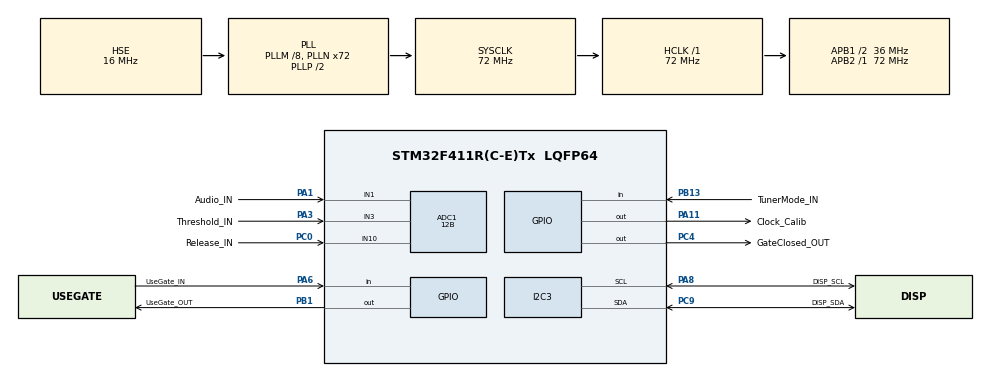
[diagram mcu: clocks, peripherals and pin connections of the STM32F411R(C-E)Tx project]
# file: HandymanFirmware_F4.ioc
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ADC1.Channel-0\#ChannelRegularConversion=ADC_CHANNEL_1
ADC1.Channel-1\#ChannelInjectedConversion=ADC_CHANNEL_10
ADC1.Channel-2\#ChannelInjectedConversion=ADC_CHANNEL_3
ADC1.ContinuousConvMode=DISABLE
ADC1.ExternalTrigConv=ADC_EXTERNALTRIGCONV_T2_TRGO
ADC1.ExternalTrigConvEdge=ADC_EXTERNALTRIGCONVEDGE_RISING
ADC1.InjNumberOfConversion=2
ADC1.InjectedOffset-1\#ChannelInjectedConversion=0
ADC1.InjectedOffset-2\#ChannelInjectedConversion=0
ADC1.InjectedRank-1\#ChannelInjectedConversion=1
ADC1.InjectedRank-2\#ChannelInjectedConversion=2
ADC1.NbrOfConversion=1
ADC1.NbrOfConversionFlag=1
ADC1.Rank-0\#ChannelRegularConversion=1
ADC1.Resolution=ADC_RESOLUTION_12B
ADC1.SamplingTime-0\#ChannelRegularConversion=ADC_SAMPLETIME_28CYCLES
ADC1.SamplingTime-1\#ChannelInjectedConversion=ADC_SAMPLETIME_3CYCLES
ADC1.SamplingTime-2\#ChannelInjectedConversion=ADC_SAMPLETIME_3CYCLES
ADC1.master=1
Dma.ADC1.0.Direction=DMA_PERIPH_TO_MEMORY
Dma.ADC1.0.FIFOMode=DMA_FIFOMODE_DISABLE
Dma.ADC1.0.Instance=DMA2_Stream0
Dma.ADC1.0.MemDataAlignment=DMA_MDATAALIGN_HALFWORD
Dma.ADC1.0.MemInc=DMA_MINC_ENABLE
Dma.ADC1.0.Mode=DMA_NORMAL
Dma.ADC1.0.PeriphDataAlignment=DMA_PDATAALIGN_HALFWORD
Dma.ADC1.0.PeriphInc=DMA_PINC_DISABLE
Dma.ADC1.0.Priority=DMA_PRIORITY_HIGH
Dma.Request0=ADC1
I2C3.I2C_Mode=I2C_Fast
Mcu.Family=STM32F4
Mcu.Name=STM32F411R(C-E)Tx
Mcu.Package=LQFP64
NVIC.ADC_IRQn=true\:0\:0\:false\:false\:true\:true\:true\:true
NVIC.DMA2_Stream0_IRQn=true\:0\:0\:false\:false\:true\:false\:true\:true
NVIC.PriorityGroup=NVIC_PRIORITYGROUP_4
NVIC.TIM3_IRQn=true\:0\:0\:false\:false\:true\:true\:true\:true
NVIC.TIM5_IRQn=true\:0\:0\:false\:false\:true\:true\:true\:true
PA1.GPIO_Label=Audio_IN
PA1.Signal=ADCx_IN1
PA11.GPIO_Label=Clock_Calib
PA11.Signal=GPIO_Output
PA13.Mode=Serial_Wire
PA13.Signal=SYS_JTMS-SWDIO
PA14.Mode=Serial_Wire
PA14.Signal=SYS_JTCK-SWCLK
PA3.GPIO_Label=Threshold_IN
PA3.Signal=ADCx_IN3
PA6.GPIO_Label=UseGate_IN
PA6.Signal=GPIO_Input
PA8.GPIO_Label=DISP_SCL
PA8.Mode=I2C
PA8.Signal=I2C3_SCL
PB1.GPIO_Label=UseGate_OUT
PB1.Signal=GPIO_Output
PB13.GPIO_Label=TunerMode_IN
PB13.Signal=GPIO_Input
PC0.GPIO_Label=Release_IN
PC0.Signal=ADCx_IN10
PC4.GPIO_Label=GateClosed_OUT
PC4.Signal=GPIO_Output
PC9.GPIO_Label=DISP_SDA
PC9.Mode=I2C
PC9.Signal=I2C3_SDA
PH0\ -\ OSC_IN.Mode=HSE-External-Oscillator
PH0\ -\ OSC_IN.Signal=RCC_OSC_IN
PH1\ -\ OSC_OUT.Mode=HSE-External-Oscillator
PH1\ -\ OSC_OUT.Signal=RCC_OSC_OUT
ProjectManager.HeapSize=0x200
ProjectManager.StackSize=0x400
ProjectManager.TargetToolchain=CMake
RCC.48MHZClocksFreq_Value=36000000
RCC.AHBFreq_Value=72000000
RCC.APB1CLKDivider=RCC_HCLK_DIV2
RCC.APB1Freq_Value=36000000
RCC.APB1TimFreq_Value=72000000
RCC.APB2Freq_Value=72000000
RCC.APB2TimFreq_Value=72000000
RCC.CortexFreq_Value=72000000
RCC.HCLKFreq_Value=72000000
RCC.HSE_VALUE=16000000
RCC.HSI_VALUE=16000000
RCC.LSE_VALUE=32768
RCC.PLLM=8
RCC.PLLN=72
RCC.PLLSourceVirtual=RCC_PLLSOURCE_HSE
RCC.SYSCLKFreq_VALUE=72000000
RCC.SYSCLKSource=RCC_SYSCLKSOURCE_PLLCLK
RCC.VCOOutputFreq_Value=144000000
SH.ADCx_IN1.0=ADC1_IN1,IN1
SH.ADCx_IN10.0=ADC1_IN10,IN10
SH.ADCx_IN3.0=ADC1_IN3,IN3
TIM2.AutoReloadPreload=TIM_AUTORELOAD_PRELOAD_DISABLE
TIM2.Period=1499
TIM2.TIM_MasterOutputTrigger=TIM_TRGO_UPDATE
TIM3.AutoReloadPreload=TIM_AUTORELOAD_PRELOAD_ENABLE
TIM3.Period=49999
TIM3.Prescaler=143
TIM3.TIM_MasterOutputTrigger=TIM_TRGO_UPDATE
TIM5.Period=63999
TIM5.Prescaler=8
VP_TIM2_VS_ClockSourceINT.Mode=Internal
VP_TIM3_VS_ClockSourceINT.Mode=Internal
VP_TIM5_VS_ClockSourceINT.Mode=Internal
board=custom

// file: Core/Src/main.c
/* USER CODE BEGIN Header */
/**
 ******************************************************************************
 * @file           : main.c
 * @brief          : Main program body
 ******************************************************************************
 * @attention
 *
 * Copyright (c) 2026 STMicroelectronics.
 * All rights reserved.
 *
 * This software is licensed under terms that can be found in the LICENSE file
 * in the root directory of this software component.
 * If no LICENSE file comes with this software, it is provided AS-IS.
 *
 ******************************************************************************
 */
/* USER CODE END Header */
#include "main.h"

/* USER CODE BEGIN Includes */
#include "BitstreamACF.h"
#include "Tuning.h"
#include "sh1106.h"
#include "DisplayChars.h"
//#include "ssd1306_fonts.h"
#include "NoiseGate.h"
#include "stm32f4xx_hal.h"
#include "stm32f4xx_hal_adc_ex.h"
#include "stm32f4xx_hal_def.h"
#include "stm32f4xx_hal_gpio.h"
#include "stm32f4xx_hal_tim.h"
#include "stm32f4xx_it.h"
#include <string.h>
#include <stdlib.h>

/* USER CODE END Includes */

/* USER CODE BEGIN PD */
#define IN_TUNE_THRESH 4

//#define DISPLAY_VERTICAL
/* USER CODE END PD */

ADC_HandleTypeDef hadc1;
DMA_HandleTypeDef hdma_adc1;

I2C_HandleTypeDef hi2c3;

TIM_HandleTypeDef htim2;
TIM_HandleTypeDef htim3;
TIM_HandleTypeDef htim5;

/* USER CODE BEGIN PV */
// DMA fills this buffer with the ADC values
uint16_t tuningBuffer[TUNING_WINDOW_SIZE * 2];
uint16_t noiseGateBuffer[GATE_WINDOW_SIZE * 2];
// flags for tuner/noise gate modes
bool inTunerMode = false;
bool useNoiseGate = true;
volatile bool tunerDmaRunning = false;
volatile bool gateDmaRunning = false;
volatile bool noiseGateClosed = true;
uint32_t lastUpdateTick = 0;

/* USER CODE END PV */

void SystemClock_Config(void);
static void MX_GPIO_Init(void);
static void MX_DMA_Init(void);
static void MX_ADC1_Init(void);
static void MX_TIM2_Init(void);
static void MX_TIM3_Init(void);
static void MX_TIM5_Init(void);
static void MX_I2C3_Init(void);
/* USER CODE BEGIN PFP */
// check the GPIOs to set the above `inTunerMode` and `useNoiseGate` flags
// call this once before the main while loop and again in the ISR for TIM3
// (which is 10x/second with current settings)
void checkModeSettings();

// draw the current tuning error to the display
void displayTuningError(tuning_error_t *err);
// draw a blank screen if we don't have valid tuning data
void displayBlankTuning();
/* USER CODE END PFP */

/* USER CODE BEGIN 0 */
void checkModeSettings() {
  // 1. read the GPIOs to determine what state we should be in
  GPIO_PinState tuneState =
      HAL_GPIO_ReadPin(TunerMode_IN_GPIO_Port, TunerMode_IN_Pin);
  // GPIO_PinState useGateState =
  //     HAL_GPIO_ReadPin(UseGate_IN_GPIO_Port, UseGate_IN_Pin);
  inTunerMode = tuneState == GPIO_PIN_SET;
  //useNoiseGate = useGateState == GPIO_PIN_SET;
  const bool gateLEDOn = useNoiseGate && (!inTunerMode);
  const bool oledIsOn = SH1106_isDisplayOn();
  if (inTunerMode != oledIsOn) {
    if(!inTunerMode)
      displayBlankTuning();
    SH1106_DisplayOn((uint8_t)inTunerMode);
  }
  setUseGateLED(gateLEDOn);
  if(inTunerMode && !tunerDmaRunning){
    if(gateDmaRunning){
      stopNoiseGateDMA();
    }
    startTunerDMA();
    setNoiseGateClosed(true);
  } else if (!inTunerMode && useNoiseGate){
    if(tunerDmaRunning){
      stopTunerDMA();
    }
    if(!gateDmaRunning){
      startNoiseGateDMA();
    }
  } else if (!useNoiseGate && gateDmaRunning){
    stopNoiseGateDMA();
  }
  if(!useNoiseGate && !inTunerMode){
    setNoiseGateClosed(false);
  }
}

char *noteNames[12] = {"C",  "C#", "D",  "D#", "E",  "F",
                             "F#", "G",  "G#", "A",  "A#", "B"};

const uint8_t* noteDataHorizontal[12] = {DisplayChar_C, DisplayChar_CSharp, DisplayChar_D, DisplayChar_DSharp, DisplayChar_E, DisplayChar_F, DisplayChar_FSharp, DisplayChar_G, DisplayChar_GSharp, DisplayChar_A, DisplayChar_ASharp, DisplayChar_B};
const uint8_t* noteDataVertical[12] = {DisplayChar_C_Vertical, DisplayChar_CSharp_Vertical, DisplayChar_D_Vertical, DisplayChar_DSharp_Vertical, DisplayChar_E_Vertical, DisplayChar_F_Vertical, DisplayChar_FSharp_Vertical, DisplayChar_G_Vertical, DisplayChar_GSharp_Vertical, DisplayChar_A_Vertical, DisplayChar_ASharp_Vertical, DisplayChar_B_Vertical};
float errorSkew = 0.0f;
#define TUNE_ERROR_MIN 0.0f
#define TUNE_ERROR_MAX 64.0f
#define TUNE_ERROR_CENTER 20.0f
static float getErrorSkew(){
  return logf(0.5f) / logf((TUNE_ERROR_CENTER - TUNE_ERROR_MIN) / (TUNE_ERROR_MAX - TUNE_ERROR_MIN));
}

uint8_t barWidthForError(int16_t sErrorCents){
  const float normError = (float)abs(sErrorCents) / 50.0f;
  const float proportion = expf(logf(normError) / errorSkew);
  return (uint8_t)(TUNE_ERROR_MAX * proportion);

}

void displayTuningError(tuning_error_t *err) {
  //char* noteName = noteNames[err->midiNote % 12];
  SH1106_Fill(SH1106_COLOR_BLACK);
  //check if we're within the tuning threshold
  if(abs(err->errorCents) <= IN_TUNE_THRESH){
#ifndef DISPLAY_VERTICAL
    const uint8_t* noteBits = noteDataHorizontal[err->midiNote % 12];
    SH1106_Fill(SH1106_COLOR_WHITE);
    SH1106_DrawBitmap(21, 11, noteBits,
                  DISPLAY_CHAR_W_HORIZONTAL, DISPLAY_CHAR_H_HORIZONTAL, DISPLAY_CHAR_STRIDE_HORIZONTAL, false);
#else

    const uint8_t* noteBits = noteDataVertical[err->midiNote % 12];
    SH1106_Fill(SH1106_COLOR_WHITE);
    //SH1106_DrawRectangle(43, 2, DISPLAY_CHAR_W_VERTICAL, DISPLAY_CHAR_STRIDE_VERTICAL, SH1106_COLOR_WHITE);
    SH1106_DrawBitmapRotatedCW90(43, 2, noteBits,
             DISPLAY_CHAR_W_VERTICAL,DISPLAY_CHAR_H_VERTICAL, DISPLAY_CHAR_STRIDE_VERTICAL, false);
#endif
  } else {
#ifndef DISPLAY_VERTICAL
    const uint8_t* noteBits = noteDataHorizontal[err->midiNote % 12];
    SH1106_Fill(SH1106_COLOR_BLACK);
    // draw the note
    SH1106_DrawBitmap(21, 11, noteBits,
                  DISPLAY_CHAR_W_HORIZONTAL, DISPLAY_CHAR_H_HORIZONTAL, DISPLAY_CHAR_STRIDE_HORIZONTAL, true);
    // draw the tuning error bar
    const uint8_t xCenter = 64;
    const uint8_t barY = 51;
    const uint8_t barHeight = 8;
    // draw the center divider line
    SH1106_DrawRectangle(62, 48, 4, 15, SH1106_COLOR_WHITE);
    // draw the error bar
    uint8_t barWidth = barWidthForError(err->errorCents);
    uint8_t x;
    if(err->errorCents > 0){
      x = xCenter;
    } else {
      x = xCenter - barWidth;
    }
    SH1106_DrawRectangle(x, barY, barWidth, barHeight, SH1106_COLOR_WHITE);
#else
    const uint8_t* noteBits = noteDataVertical[err->midiNote % 12];
    SH1106_Fill(SH1106_COLOR_BLACK);
    SH1106_DrawBitmapRotatedCW90(43, 2, noteBits,
                  DISPLAY_CHAR_W_VERTICAL, DISPLAY_CHAR_H_VERTICAL, DISPLAY_CHAR_STRIDE_VERTICAL, true);
    // draw the center of the error bar
    SH1106_DrawRectangle(62, 53, 4, 10, SH1106_COLOR_WHITE);
    uint8_t barWidth = barWidthForError(err->errorCents);
    uint8_t x;
    const uint8_t xCenter = 64;
    if(err->errorCents > 0){
      x = xCenter;
    } else {
      x = xCenter - barWidth;
    }
    SH1106_DrawRectangle(x, 55, barWidth, 6, SH1106_COLOR_WHITE);

#endif
  }
  // // 6. send the I2C data to update the screen
  SH1106_UpdateScreen();
}

void displayBlankTuning(){
  SH1106_Fill(SH1106_COLOR_BLACK);
  SH1106_UpdateScreen();
}
// Implementations of shared stuff from main.h---------------------------------------------------

void startTunerDMA(){
  HAL_StatusTypeDef dmaStatus = HAL_ADC_Start_DMA(&hadc1, (uint32_t *)tuningBuffer, TUNING_WINDOW_SIZE * 2);
  if(dmaStatus != HAL_OK){
    Error_Handler();
  }
  HAL_StatusTypeDef timerStatus = HAL_TIM_Base_Start(&htim2);
  if(timerStatus != HAL_OK){
    Error_Handler();
  }
  tunerDmaRunning = true;
}

void stopTunerDMA(){
  HAL_StatusTypeDef timerStatus = HAL_TIM_Base_Stop(&htim2);
  if(timerStatus != HAL_OK){
    Error_Handler();
  }
  HAL_StatusTypeDef dmaStatus = HAL_ADC_Stop_DMA(&hadc1);
  if(dmaStatus != HAL_OK){
    Error_Handler();
  }
  tunerDmaRunning = false;
}

void startNoiseGateDMA(){
  HAL_StatusTypeDef dmaStatus = HAL_ADC_Start_DMA(&hadc1, (uint32_t *)noiseGateBuffer, GATE_WINDOW_SIZE * 2);
  if(dmaStatus != HAL_OK){
    Error_Handler();
  }
  HAL_StatusTypeDef timerStatus = HAL_TIM_Base_Start(&htim2);
  if(timerStatus != HAL_OK){
    Error_Handler();
  }
  gateDmaRunning = true;
}

void stopNoiseGateDMA(){
  HAL_StatusTypeDef timerStatus = HAL_TIM_Base_Stop(&htim2);
  if(timerStatus != HAL_OK){
    Error_Handler();
  }
  HAL_StatusTypeDef dmaStatus = HAL_ADC_Stop_DMA(&hadc1);
  if(dmaStatus != HAL_OK){
    Error_Handler();
  }
  gateDmaRunning = false;
}

bool readyToClearScreen(){
  uint32_t now = HAL_GetTick();
  return (now - lastUpdateTick) > 600;
}

void setUseGateLED(bool ledOn){
  GPIO_PinState state = ledOn ? GPIO_PIN_SET : GPIO_PIN_RESET;
  HAL_GPIO_WritePin(UseGate_OUT_GPIO_Port, UseGate_OUT_Pin, state);
}

void setNoiseGateClosed(bool gateClosed){
  if(noiseGateClosed != gateClosed){
    noiseGateClosed = gateClosed;
    GPIO_PinState state = noiseGateClosed ? GPIO_PIN_RESET : GPIO_PIN_SET;
    HAL_GPIO_WritePin(GateClosed_OUT_GPIO_Port, GateClosed_OUT_Pin, state);
  }
}

void startPotADCConversion(){
  // 1. trigger the software injection
  HAL_StatusTypeDef startStatus = HAL_ADCEx_InjectedStart(&hadc1);
  if(startStatus != HAL_OK){
    Error_Handler();
  }
  // 2. block until the conversion is done
  HAL_StatusTypeDef pollStatus = HAL_ADCEx_InjectedPollForConversion(&hadc1, HAL_MAX_DELAY);
  if(pollStatus != HAL_OK){
    Error_Handler();
  }
}

static uint16_t gateBtnState = 0xFFFF;
void checkGateButton() {
  gateBtnState = (gateBtnState << 1) | HAL_GPIO_ReadPin(UseGate_IN_GPIO_Port, UseGate_IN_Pin);
  if(gateBtnState == 0xFFF0){
    useNoiseGate = !useNoiseGate;
  }
}

/* USER CODE END 0 */

int main(void)
{

  /* MCU Configuration--------------------------------------------------------*/

  /* Reset of all peripherals, Initializes the Flash interface and the Systick. */
  HAL_Init();

  /* Configure the system clock */
  SystemClock_Config();

  /* Initialize all configured peripherals */
  MX_GPIO_Init();
  MX_DMA_Init();
  MX_ADC1_Init();
  MX_TIM2_Init();
  MX_TIM3_Init();
  MX_TIM5_Init();
  MX_I2C3_Init();
  /* USER CODE BEGIN 2 */
  // calculate the skew for the error bar
  errorSkew = getErrorSkew();
  // Initialize the buffers for the BAC handling
  BAC_initBitArray();
  // initialize the noise gate
  Gate_initNoiseGate();

  // initialize the OLED

  if(SH1106_Init() != HAL_OK){
    Error_Handler();
  }

  HAL_Delay(200);
  // check the GPIO inputs for the first time and start the relevant DMA streams
  checkModeSettings();
  // start timer 3 for checking mode settings
  HAL_TIM_Base_Start_IT(&htim3);
  // start timer 5 for checking the gate button
  HAL_TIM_Base_Start_IT(&htim5);
  /* USER CODE END 2 */

  /* Infinite loop */
  /* USER CODE BEGIN WHILE */
  while (1) {
    if (inTunerMode && BAC_isBitstreamReady()) {
      BAC_run();
      if(BAC_hasTuningSignal()){
        // 1. run the BAC algorithm
        const float currentHz = BAC_getCurrentHz();
        // 2. convert to an error value
        tuning_error_t err = Tune_getErrorForFreq(currentHz);
        // 3. display the error
        displayTuningError(&err);
        lastUpdateTick = HAL_GetTick();
      } else if (readyToClearScreen()) {
        displayBlankTuning();
      }
      // 4. Unset the bitstreamLoaded flag
      BAC_finishedWithCurrentHz();
    }

    /* USER CODE END WHILE */

  }
}

void SystemClock_Config(void)
{
  RCC_OscInitTypeDef RCC_OscInitStruct = {0};
  RCC_ClkInitTypeDef RCC_ClkInitStruct = {0};

  /** Configure the main internal regulator output voltage
  */
  __HAL_RCC_PWR_CLK_ENABLE();
  __HAL_PWR_VOLTAGESCALING_CONFIG(PWR_REGULATOR_VOLTAGE_SCALE1);

  /** Initializes the RCC Oscillators according to the specified parameters
  * in the RCC_OscInitTypeDef structure.
  */
  RCC_OscInitStruct.OscillatorType = RCC_OSCILLATORTYPE_HSE;
  RCC_OscInitStruct.HSEState = RCC_HSE_ON;
  RCC_OscInitStruct.PLL.PLLState = RCC_PLL_ON;
  RCC_OscInitStruct.PLL.PLLSource = RCC_PLLSOURCE_HSE;
  RCC_OscInitStruct.PLL.PLLM = 8;
  RCC_OscInitStruct.PLL.PLLN = 72;
  RCC_OscInitStruct.PLL.PLLP = RCC_PLLP_DIV2;
  RCC_OscInitStruct.PLL.PLLQ = 4;
  if (HAL_RCC_OscConfig(&RCC_OscInitStruct) != HAL_OK)
  {
    Error_Handler();
  }

  /** Initializes the CPU, AHB and APB buses clocks
  */
  RCC_ClkInitStruct.ClockType = RCC_CLOCKTYPE_HCLK|RCC_CLOCKTYPE_SYSCLK
                              |RCC_CLOCKTYPE_PCLK1|RCC_CLOCKTYPE_PCLK2;
  RCC_ClkInitStruct.SYSCLKSource = RCC_SYSCLKSOURCE_PLLCLK;
  RCC_ClkInitStruct.AHBCLKDivider = RCC_SYSCLK_DIV1;
  RCC_ClkInitStruct.APB1CLKDivider = RCC_HCLK_DIV2;
  RCC_ClkInitStruct.APB2CLKDivider = RCC_HCLK_DIV1;

  if (HAL_RCC_ClockConfig(&RCC_ClkInitStruct, FLASH_LATENCY_2) != HAL_OK)
  {
    Error_Handler();
  }
}

static void MX_ADC1_Init(void)
{

  ADC_ChannelConfTypeDef sConfig = {0};
  ADC_InjectionConfTypeDef sConfigInjected = {0};

  /** Configure the global features of the ADC (Clock, Resolution, Data Alignment and number of conversion)
  */
  hadc1.Instance = ADC1;
  hadc1.Init.ClockPrescaler = ADC_CLOCK_SYNC_PCLK_DIV2;
  hadc1.Init.Resolution = ADC_RESOLUTION_12B;
  hadc1.Init.ScanConvMode = ENABLE;
  hadc1.Init.ContinuousConvMode = DISABLE;
  hadc1.Init.DiscontinuousConvMode = DISABLE;
  hadc1.Init.ExternalTrigConvEdge = ADC_EXTERNALTRIGCONVEDGE_RISING;
  hadc1.Init.ExternalTrigConv = ADC_EXTERNALTRIGCONV_T2_TRGO;
  hadc1.Init.DataAlign = ADC_DATAALIGN_RIGHT;
  hadc1.Init.NbrOfConversion = 1;
  hadc1.Init.DMAContinuousRequests = DISABLE;
  hadc1.Init.EOCSelection = ADC_EOC_SINGLE_CONV;
  if (HAL_ADC_Init(&hadc1) != HAL_OK)
  {
    Error_Handler();
  }

  /** Configure for the selected ADC regular channel its corresponding rank in the sequencer and its sample time.
  */
  sConfig.Channel = ADC_CHANNEL_1;
  sConfig.Rank = 1;
  sConfig.SamplingTime = ADC_SAMPLETIME_28CYCLES;
  if (HAL_ADC_ConfigChannel(&hadc1, &sConfig) != HAL_OK)
  {
    Error_Handler();
  }

  /** Configures for the selected ADC injected channel its corresponding rank in the sequencer and its sample time
  */
  sConfigInjected.InjectedChannel = ADC_CHANNEL_10;
  sConfigInjected.InjectedRank = 1;
  sConfigInjected.InjectedNbrOfConversion = 2;
  sConfigInjected.InjectedSamplingTime = ADC_SAMPLETIME_3CYCLES;
  sConfigInjected.ExternalTrigInjecConvEdge = ADC_EXTERNALTRIGINJECCONVEDGE_NONE;
  sConfigInjected.ExternalTrigInjecConv = ADC_INJECTED_SOFTWARE_START;
  sConfigInjected.AutoInjectedConv = DISABLE;
  sConfigInjected.InjectedDiscontinuousConvMode = DISABLE;
  sConfigInjected.InjectedOffset = 0;
  if (HAL_ADCEx_InjectedConfigChannel(&hadc1, &sConfigInjected) != HAL_OK)
  {
    Error_Handler();
  }

  /** Configures for the selected ADC injected channel its corresponding rank in the sequencer and its sample time
  */
  sConfigInjected.InjectedChannel = ADC_CHANNEL_3;
  sConfigInjected.InjectedRank = 2;
  if (HAL_ADCEx_InjectedConfigChannel(&hadc1, &sConfigInjected) != HAL_OK)
  {
    Error_Handler();
  }

}

static void MX_I2C3_Init(void)
{

  hi2c3.Instance = I2C3;
  hi2c3.Init.ClockSpeed = 100000;
  hi2c3.Init.DutyCycle = I2C_DUTYCYCLE_2;
  hi2c3.Init.OwnAddress1 = 0;
  hi2c3.Init.AddressingMode = I2C_ADDRESSINGMODE_7BIT;
  hi2c3.Init.DualAddressMode = I2C_DUALADDRESS_DISABLE;
  hi2c3.Init.OwnAddress2 = 0;
  hi2c3.Init.GeneralCallMode = I2C_GENERALCALL_DISABLE;
  hi2c3.Init.NoStretchMode = I2C_NOSTRETCH_DISABLE;
  if (HAL_I2C_Init(&hi2c3) != HAL_OK)
  {
    Error_Handler();
  }

}

static void MX_TIM2_Init(void)
{

  TIM_ClockConfigTypeDef sClockSourceConfig = {0};
  TIM_MasterConfigTypeDef sMasterConfig = {0};

  htim2.Instance = TIM2;
  htim2.Init.Prescaler = 0;
  htim2.Init.CounterMode = TIM_COUNTERMODE_UP;
  htim2.Init.Period = 1499;
  htim2.Init.ClockDivision = TIM_CLOCKDIVISION_DIV1;
  htim2.Init.AutoReloadPreload = TIM_AUTORELOAD_PRELOAD_DISABLE;
  if (HAL_TIM_Base_Init(&htim2) != HAL_OK)
  {
    Error_Handler();
  }
  sClockSourceConfig.ClockSource = TIM_CLOCKSOURCE_INTERNAL;
  if (HAL_TIM_ConfigClockSource(&htim2, &sClockSourceConfig) != HAL_OK)
  {
    Error_Handler();
  }
  sMasterConfig.MasterOutputTrigger = TIM_TRGO_UPDATE;
  sMasterConfig.MasterSlaveMode = TIM_MASTERSLAVEMODE_DISABLE;
  if (HAL_TIMEx_MasterConfigSynchronization(&htim2, &sMasterConfig) != HAL_OK)
  {
    Error_Handler();
  }

}

static void MX_TIM3_Init(void)
{

  TIM_ClockConfigTypeDef sClockSourceConfig = {0};
  TIM_MasterConfigTypeDef sMasterConfig = {0};

  htim3.Instance = TIM3;
  htim3.Init.Prescaler = 143;
  htim3.Init.CounterMode = TIM_COUNTERMODE_UP;
  htim3.Init.Period = 49999;
  htim3.Init.ClockDivision = TIM_CLOCKDIVISION_DIV1;
  htim3.Init.AutoReloadPreload = TIM_AUTORELOAD_PRELOAD_ENABLE;
  if (HAL_TIM_Base_Init(&htim3) != HAL_OK)
  {
    Error_Handler();
  }
  sClockSourceConfig.ClockSource = TIM_CLOCKSOURCE_INTERNAL;
  if (HAL_TIM_ConfigClockSource(&htim3, &sClockSourceConfig) != HAL_OK)
  {
    Error_Handler();
  }
  sMasterConfig.MasterOutputTrigger = TIM_TRGO_UPDATE;
  sMasterConfig.MasterSlaveMode = TIM_MASTERSLAVEMODE_DISABLE;
  if (HAL_TIMEx_MasterConfigSynchronization(&htim3, &sMasterConfig) != HAL_OK)
  {
    Error_Handler();
  }

}

static void MX_TIM5_Init(void)
{

  TIM_ClockConfigTypeDef sClockSourceConfig = {0};
  TIM_MasterConfigTypeDef sMasterConfig = {0};

  htim5.Instance = TIM5;
  htim5.Init.Prescaler = 8;
  htim5.Init.CounterMode = TIM_COUNTERMODE_UP;
  htim5.Init.Period = 63999;
  htim5.Init.ClockDivision = TIM_CLOCKDIVISION_DIV1;
  htim5.Init.AutoReloadPreload = TIM_AUTORELOAD_PRELOAD_DISABLE;
  if (HAL_TIM_Base_Init(&htim5) != HAL_OK)
  {
    Error_Handler();
  }
  sClockSourceConfig.ClockSource = TIM_CLOCKSOURCE_INTERNAL;
  if (HAL_TIM_ConfigClockSource(&htim5, &sClockSourceConfig) != HAL_OK)
  {
    Error_Handler();
  }
  sMasterConfig.MasterOutputTrigger = TIM_TRGO_RESET;
  sMasterConfig.MasterSlaveMode = TIM_MASTERSLAVEMODE_DISABLE;
  if (HAL_TIMEx_MasterConfigSynchronization(&htim5, &sMasterConfig) != HAL_OK)
  {
    Error_Handler();
  }

}

static void MX_DMA_Init(void)
{

  /* DMA controller clock enable */
  __HAL_RCC_DMA2_CLK_ENABLE();

  /* DMA interrupt init */
  /* DMA2_Stream0_IRQn interrupt configuration */
  HAL_NVIC_SetPriority(DMA2_Stream0_IRQn, 0, 0);
  HAL_NVIC_EnableIRQ(DMA2_Stream0_IRQn);

}

static void MX_GPIO_Init(void)
{
  GPIO_InitTypeDef GPIO_InitStruct = {0};

  /* GPIO Ports Clock Enable */
  __HAL_RCC_GPIOH_CLK_ENABLE();
  __HAL_RCC_GPIOC_CLK_ENABLE();
  __HAL_RCC_GPIOA_CLK_ENABLE();
  __HAL_RCC_GPIOB_CLK_ENABLE();

  /*Configure GPIO pin Output Level */
  HAL_GPIO_WritePin(GateClosed_OUT_GPIO_Port, GateClosed_OUT_Pin, GPIO_PIN_RESET);

  /*Configure GPIO pin Output Level */
  HAL_GPIO_WritePin(UseGate_OUT_GPIO_Port, UseGate_OUT_Pin, GPIO_PIN_RESET);

  /*Configure GPIO pin Output Level */
  HAL_GPIO_WritePin(Clock_Calib_GPIO_Port, Clock_Calib_Pin, GPIO_PIN_RESET);

  /*Configure GPIO pin : UseGate_IN_Pin */
  GPIO_InitStruct.Pin = UseGate_IN_Pin;
  GPIO_InitStruct.Mode = GPIO_MODE_INPUT;
  GPIO_InitStruct.Pull = GPIO_NOPULL;
  HAL_GPIO_Init(UseGate_IN_GPIO_Port, &GPIO_InitStruct);

  /*Configure GPIO pin : GateClosed_OUT_Pin */
  GPIO_InitStruct.Pin = GateClosed_OUT_Pin;
  GPIO_InitStruct.Mode = GPIO_MODE_OUTPUT_PP;
  GPIO_InitStruct.Pull = GPIO_NOPULL;
  GPIO_InitStruct.Speed = GPIO_SPEED_FREQ_LOW;
  HAL_GPIO_Init(GateClosed_OUT_GPIO_Port, &GPIO_InitStruct);

  /*Configure GPIO pin : UseGate_OUT_Pin */
  GPIO_InitStruct.Pin = UseGate_OUT_Pin;
  GPIO_InitStruct.Mode = GPIO_MODE_OUTPUT_PP;
  GPIO_InitStruct.Pull = GPIO_NOPULL;
  GPIO_InitStruct.Speed = GPIO_SPEED_FREQ_LOW;
  HAL_GPIO_Init(UseGate_OUT_GPIO_Port, &GPIO_InitStruct);

  /*Configure GPIO pin : TunerMode_IN_Pin */
  GPIO_InitStruct.Pin = TunerMode_IN_Pin;
  GPIO_InitStruct.Mode = GPIO_MODE_INPUT;
  GPIO_InitStruct.Pull = GPIO_NOPULL;
  HAL_GPIO_Init(TunerMode_IN_GPIO_Port, &GPIO_InitStruct);

  /*Configure GPIO pin : Clock_Calib_Pin */
  GPIO_InitStruct.Pin = Clock_Calib_Pin;
  GPIO_InitStruct.Mode = GPIO_MODE_OUTPUT_PP;
  GPIO_InitStruct.Pull = GPIO_NOPULL;
  GPIO_InitStruct.Speed = GPIO_SPEED_FREQ_LOW;
  HAL_GPIO_Init(Clock_Calib_GPIO_Port, &GPIO_InitStruct);

}

/* USER CODE BEGIN 4 */
//========================================================================================
// Audio ADC callback
void HAL_ADC_ConvCpltCallback(ADC_HandleTypeDef *hadc) {
  // compute the second half of the buffer
  if (inTunerMode) {
    // if(BAC_isWorking()){
    //   Error_Handler();
    // }
    uint16_t* startPtr = &tuningBuffer[TUNING_WINDOW_SIZE];
    BAC_loadBitstream(startPtr);
    HAL_StatusTypeDef dmaStatus = HAL_ADC_Start_DMA(&hadc1, (uint32_t *)tuningBuffer, TUNING_WINDOW_SIZE * 2);
    if(dmaStatus != HAL_OK){
      Error_Handler();
    }
  } else if (useNoiseGate) {
    uint16_t* startPtr = &noiseGateBuffer[GATE_WINDOW_SIZE];
    Gate_processWindow(startPtr, GATE_WINDOW_SIZE);
    // update the pots here if it's time
    if(Gate_isAwaitingPotReadings()){
      startPotADCConversion();
      uint32_t threshVal = HAL_ADCEx_InjectedGetValue(&hadc1, ADC_INJECTED_RANK_1);
      uint32_t releaseVal = HAL_ADCEx_InjectedGetValue(&hadc1, ADC_INJECTED_RANK_2);
      Gate_updatePotReadings((uint16_t)threshVal, (uint16_t)releaseVal);
    }
    HAL_ADC_Start_DMA(&hadc1, (uint32_t *)noiseGateBuffer, GATE_WINDOW_SIZE * 2);
  }
}

void HAL_ADC_ConvHalfCpltCallback(ADC_HandleTypeDef *hadc) {
  // compute the first half of the buffer
  if(inTunerMode){
    // if(BAC_isWorking()){
    //   Error_Handler();
    // }
    BAC_loadBitstream(tuningBuffer);
  } else if (useNoiseGate) {
    Gate_processWindow(noiseGateBuffer, GATE_WINDOW_SIZE);
  }
}

void HAL_TIM_PeriodElapsedCallback(TIM_HandleTypeDef *htim) {
  if (htim == &htim3) {
    checkModeSettings();
    if(useNoiseGate && !inTunerMode){
      Gate_requestPotReadings();
    }
  } else if (htim == &htim5){
    checkGateButton();
  }
}

/* USER CODE END 4 */

void Error_Handler(void)
{
  __disable_irq();
  while (1) {
  }
}
#ifdef USE_FULL_ASSERT
/**
  * @brief  Reports the name of the source file and the source line number
  *         where the assert_param error has occurred.
  * @param  file: pointer to the source file name
  * @param  line: assert_param error line source number
  * @retval None
  */
void assert_failed(uint8_t *file, uint32_t line)
{
  /* USER CODE BEGIN 6 */
  /* User can add his own implementation to report the file name and line
     number, ex: printf("Wrong parameters value: file %s on line %d\r\n", file,
     line) */
  /* USER CODE END 6 */
}
#endif /* USE_FULL_ASSERT */
